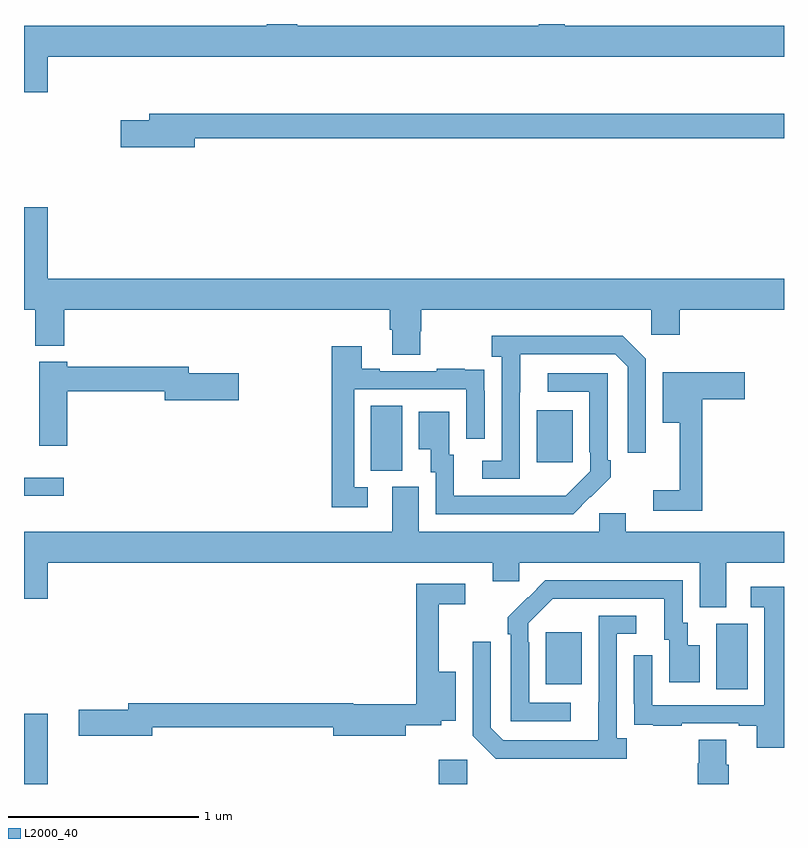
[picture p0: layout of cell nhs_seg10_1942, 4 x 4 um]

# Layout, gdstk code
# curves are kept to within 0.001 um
import gdstk
lib = gdstk.Library(unit=1e-6, precision=1e-09)
def R(c, l, rs):  # rectangles x0, y0, x1, y1
    for r in rs: c.add(gdstk.rectangle(r[:2], r[2:], *l))
def P(c, l, *ps):  # polygons
    for p in ps: c.add(gdstk.Polygon(p, *l))
L2000_40 = (2000, 40)

nhs_seg10_1942 = lib.new_cell('nhs_seg10_1942')
R(nhs_seg10_1942, L2000_40, [(213,1284.5,213.124,1284.871), (215.183,1284.5,215.334,1284.628), (216.644,1285,216.808,1285.344), (215.747,1285.025,215.935,1285.3), (213,1286.016,213.208,1286.112), (214.826,1286.149,214.99,1286.492), (215.699,1286.193,215.887,1286.467)])
P(nhs_seg10_1942, L2000_40, [(213.124,1288.328),(217,1288.328),(217,1288.492),(215.847,1288.492),(215.847,1288.5),(215.709,1288.5),(215.709,1288.492),(214.437,1288.492),(214.437,1288.5),(214.277,1288.5),(214.277,1288.492),(213,1288.492),(213,1288.14),(213.124,1288.14)],
  [(213.898,1287.898),(217,1287.898),(217,1288.027),(213.659,1288.027),(213.659,1287.993),(213.51,1287.993),(213.51,1287.851),(213.898,1287.851)],
  [(215.085,1286.883),(215.09,1286.883),(215.09,1286.996),(216.3,1286.996),(216.3,1286.865),(216.452,1286.865),(216.452,1286.996),(217,1286.996),(217,1287.16),(213.124,1287.16),(213.124,1287.535),(213,1287.535),(213,1286.996),(213.059,1286.996),(213.059,1286.807),(213.212,1286.807),(213.212,1286.996),(214.925,1286.996),(214.925,1286.89),(214.937,1286.89),(214.937,1286.758),(215.085,1286.758)],
  [(215.61,1286.563),(215.611,1286.763),(216.111,1286.763),(216.177,1286.697),(216.177,1286.244),(216.273,1286.244),(216.273,1286.739),(216.152,1286.86),(215.463,1286.86),(215.463,1286.75),(215.514,1286.75),(215.514,1286.202),(215.412,1286.202),(215.412,1286.106),(215.61,1286.106)],
  [(214.81,1286.061),(214.737,1286.061),(214.737,1286.577),(215.328,1286.577),(215.328,1286.316),(215.424,1286.316),(215.424,1286.57),(215.423,1286.57),(215.423,1286.679),(215.321,1286.679),(215.321,1286.686),(215.173,1286.686),(215.173,1286.673),(214.873,1286.673),(214.873,1286.686),(214.777,1286.686),(214.777,1286.803),(214.621,1286.803),(214.621,1285.956),(214.81,1285.956)],
  [(213.227,1286.566),(213.74,1286.566),(213.74,1286.519),(214.129,1286.519),(214.129,1286.661),(213.868,1286.661),(213.868,1286.695),(213.227,1286.695),(213.227,1286.722),(213.08,1286.722),(213.08,1286.28),(213.227,1286.28)],
  [(216.569,1286.525),(216.793,1286.525),(216.793,1286.667),(216.362,1286.667),(216.362,1286.402),(216.452,1286.402),(216.452,1286.047),(216.312,1286.047),(216.312,1285.938),(216.569,1285.938)],
  [(215.981,1286.011),(215.982,1286.01),(216.087,1286.115),(216.087,1286.203),(216.072,1286.203),(216.072,1286.661),(215.757,1286.661),(215.757,1286.565),(215.976,1286.565),(215.976,1286.245),(215.979,1286.245),(215.979,1286.145),(215.851,1286.017),(215.263,1286.016),(215.263,1286.232),(215.239,1286.232),(215.239,1286.458),(215.078,1286.458),(215.078,1286.261),(215.141,1286.261),(215.141,1286.142),(215.166,1286.142),(215.166,1285.92),(215.89,1285.92)],
  [(216.697,1285.664),(217,1285.664),(217,1285.828),(216.166,1285.828),(216.166,1285.926),(216.027,1285.926),(216.027,1285.828),(215.077,1285.828),(215.077,1286.064),(214.937,1286.064),(214.937,1285.828),(213,1285.828),(213,1285.476),(213.124,1285.476),(213.124,1285.664),(215.468,1285.664),(215.468,1285.566),(215.607,1285.566),(215.607,1285.664),(216.557,1285.664),(216.557,1285.429),(216.697,1285.429)],
  [(215.878,1284.927),(215.658,1284.927),(215.658,1285.247),(215.655,1285.247),(215.655,1285.347),(215.784,1285.476),(216.371,1285.476),(216.371,1285.26),(216.395,1285.26),(216.395,1285.035),(216.556,1285.035),(216.556,1285.231),(216.493,1285.231),(216.493,1285.35),(216.468,1285.35),(216.468,1285.572),(215.744,1285.572),(215.547,1285.377),(215.547,1285.289),(215.562,1285.289),(215.562,1284.831),(215.878,1284.831)],
  [(213.676,1284.798),(214.628,1284.798),(214.628,1284.755),(215.008,1284.755),(215.008,1284.809),(215.196,1284.809),(215.196,1284.833),(215.272,1284.833),(215.272,1285.09),(215.183,1285.09),(215.183,1285.446),(215.323,1285.446),(215.323,1285.554),(215.065,1285.554),(215.065,1284.92),(214.732,1284.92),(214.732,1284.926),(213.548,1284.926),(213.548,1284.89),(213.288,1284.89),(213.288,1284.755),(213.676,1284.755)],
  [(217,1285.537),(216.825,1285.537),(216.825,1285.431),(216.897,1285.431),(216.897,1284.915),(216.306,1284.915),(216.306,1285.177),(216.21,1285.177),(216.21,1284.922),(216.211,1284.922),(216.211,1284.813),(216.313,1284.813),(216.313,1284.807),(216.461,1284.807),(216.461,1284.819),(216.761,1284.819),(216.761,1284.807),(216.857,1284.807),(216.857,1284.69),(217,1284.69)],
  [(216.172,1284.742),(216.12,1284.742),(216.12,1285.29),(216.223,1285.29),(216.223,1285.386),(216.024,1285.386),(216.023,1284.729),(215.523,1284.729),(215.457,1284.795),(215.457,1285.249),(215.361,1285.249),(215.361,1284.753),(215.482,1284.632),(216.172,1284.632)],
  [(216.71,1284.602),(216.697,1284.602),(216.697,1284.734),(216.55,1284.734),(216.55,1284.609),(216.545,1284.609),(216.545,1284.5),(216.71,1284.5)])

lib.write_gds('nhs_seg10_1942.gds')
